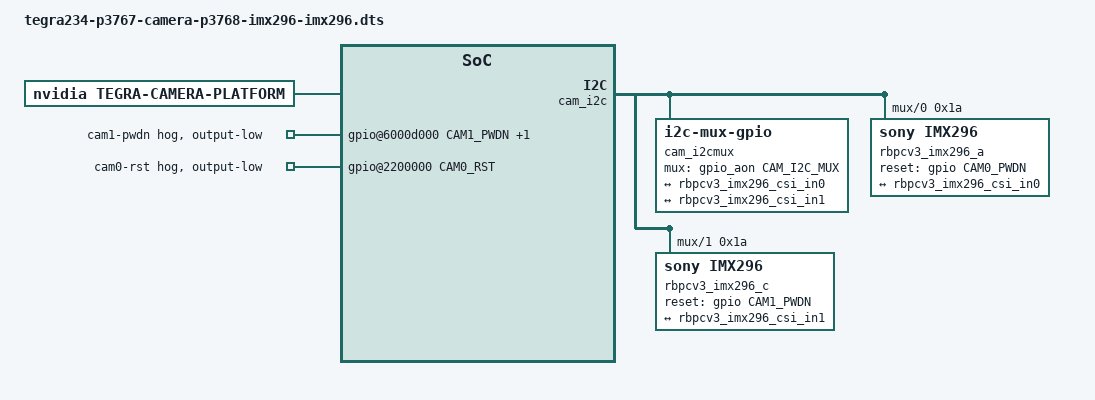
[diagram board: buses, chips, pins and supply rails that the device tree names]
// SPDX-License-Identifier: GPL-2.0-only
// SPDX-FileCopyrightText: Copyright (c) 2023-2024, NVIDIA CORPORATION & AFFILIATES. All rights reserved.

/dts-v1/;
/plugin/;

#define CAM0_RST	TEGRA234_MAIN_GPIO(H, 3)
#define CAM0_PWDN	TEGRA234_MAIN_GPIO(H, 6)
#define CAM1_PWDN	TEGRA234_MAIN_GPIO(AC, 0)
#define CAM_I2C_MUX 	TEGRA234_AON_GPIO(CC, 3)
#include <dt-bindings/tegra234-p3767-0000-common.h>

/ {
	overlay-name = "Camera IMX296-C and IMX296-C";
	jetson-header-name = "Jetson 24pin CSI Connector";
	compatible = JETSON_COMPATIBLE_P3768;
	/* IMX296 connected on cam0 and IMX296 connected on cam1 port */

	fragment@0 {
		target-path = "/";
		__overlay__ {

		imx296_fixed_cam_clk: imx_296_fixed_cam_clk {
			compatible = "fixed-clock";
			#clock-cells = <0>;
			status = "okay";
			clock-frequency = <54000000>;
        	};

			tegra-capture-vi  {
				num-channels = <2>;
				ports {
					#address-cells = <1>;
					#size-cells = <0>;
					port@0 {
						reg = <0>;
						rbpcv3_imx296_vi_in0: endpoint {
							port-index = <1>;
							bus-width = <1>;
							remote-endpoint = <&rbpcv3_imx296_csi_out0>;
						};
					};
					port@1 {
						reg = <1>;
						rbpcv3_imx296_vi_in1: endpoint {
							port-index = <2>;
							bus-width = <1>;
							remote-endpoint = <&rbpcv3_imx296_csi_out1>;
						};
					};
				};
			};
			tegra-camera-platform {
				compatible = "nvidia, tegra-camera-platform";
				num_csi_lanes = <2>;
				max_lane_speed = <1500000>;
				min_bits_per_pixel = <10>;
				vi_peak_byte_per_pixel = <2>;
				vi_bw_margin_pct = <25>;
				max_pixel_rate = <7500000>;
				isp_peak_byte_per_pixel = <5>;
				isp_bw_margin_pct = <25>;
				modules {
					module0 {
						badge = "jakku_front_RBPCV3";
						position = "front";
						orientation = "1";
						drivernode0 {
							pcl_id = "v4l2_sensor";
							sysfs-device-tree = "/sys/firmware/devicetree/base/bus@0/cam_i2cmux/i2c@0/rbpcv3_imx296_a@1a";
						};
					};
					module1 {
						badge = "jakku_rear_RBPCV3";
						position = "rear";
						orientation = "1";
						drivernode0 {
							pcl_id = "v4l2_sensor";
							sysfs-device-tree = "/sys/firmware/devicetree/base/bus@0/cam_i2cmux/i2c@1/rbpcv3_imx296_c@1a";
						};
					};
				};
			};
			bus@0 {
				host1x@13e00000 {
					nvcsi@15a00000 {
						num-channels = <2>;
						#address-cells = <1>;
						#size-cells = <0>;
						channel@0 {
							reg = <0>;
							ports {
								#address-cells = <1>;
								#size-cells = <0>;
								port@0 {
									reg = <0>;
									rbpcv3_imx296_csi_in0: endpoint@0 {
										port-index = <1>;
										bus-width = <1>;
										remote-endpoint = <&rbpcv3_imx296_out0>;
									};
								};
								port@1 {
									reg = <1>;
									rbpcv3_imx296_csi_out0: endpoint@1 {
										remote-endpoint = <&rbpcv3_imx296_vi_in0>;
									};
								};
							};
						};
						channel@1 {
							reg = <1>;
							ports {
								#address-cells = <1>;
								#size-cells = <0>;
								port@0 {
									reg = <0>;
									rbpcv3_imx296_csi_in1: endpoint@2 {
										port-index = <2>;
										bus-width = <1>;
										remote-endpoint = <&rbpcv3_imx296_out1>;
									};
								};
								port@1 {
									reg = <1>;
									rbpcv3_imx296_csi_out1: endpoint@3 {
										remote-endpoint = <&rbpcv3_imx296_vi_in1>;
									};
								};
							};
						};
					};
				};
				cam_i2cmux {
					status = "okay";
					compatible = "i2c-mux-gpio";
					#address-cells = <1>;
					#size-cells = <0>;
					mux-gpios = <&gpio_aon CAM_I2C_MUX GPIO_ACTIVE_HIGH>;
					i2c-parent = <&cam_i2c>;
					i2c@0 {
						status = "okay";
						reg = <0>;
						#address-cells = <1>;
						#size-cells = <0>;
						rbpcv2_imx219_a@10 {
							status = "disabled";
						};
						rbpcv3_imx296_a@1a {
							reset-gpios = <&gpio CAM0_PWDN GPIO_ACTIVE_HIGH>;
							compatible = "sony,imx296";
							/* I2C device address */
							reg = <0x1a>;
							/* V4L2 device node location */
							devnode = "video0";
							clocks = <&imx296_fixed_cam_clk>;
							clock-names = "mclk";
							mclk = "mclk";
							/* Physical dimensions of sensor */
							physical_w = "5.0232";
							physical_h = "3.7536";
							sensor_model = "imx296";
							use_sensor_mode_id = "true";
							mode0 {
								// TODO(austin): Figure out what mclk actually resolves to and is used for.  We set mclk to it...  But I don't know what that does.  It appears in the datasheet?
								mclk_khz = "54000";
								num_lanes = "1";
								tegra_sinterface = "serial_a";
								phy_mode = "DPHY";
								discontinuous_clk = "no";
								dpcm_enable = "false";
								cil_settletime = "0";
								lane_polarity = "0";

								active_w = "1456";
								active_h = "1088";
								mode_type = "bayer";
								pixel_phase = "rggb";
								csi_pixel_bit_depth = "10";
								/* Only used by android */
								readout_orientation = "0";
								line_length = "1100";
								inherent_gain = "1";
								mclk_multiplier = "22";
								pix_clk_hz = "118800000";

								gain_factor = "16";
								framerate_factor = "1000000";
								exposure_factor = "1000000";
			       				// TODO(austin): Min is actually 0, do we really need to get to it?
								min_gain_val = "1"; /* 0db */
								max_gain_val = "200"; /* 48 db */
								step_gain_val = "1";
								default_gain = "100"; // JC: was "1";
								min_hdr_ratio = "1";
								max_hdr_ratio = "1";
								min_framerate = "64373"; /* 0.06... fps */
								max_framerate = "60375670"; /* 60.3... fps */
								step_framerate = "1";
								default_framerate = "60000000"; /* 60.0 fps */
								// TODO(austin): Make exposure real after it works.
								min_exp_time = "1"; /* us? */
								//max_exp_time = "60375670"; /* us? */
								max_exp_time = "1000"; /* us? */
								step_exp_time = "1";
								default_exp_time = "800"; /* us */ /* JC: was set to 10 as default, flaking/murky image */

								embedded_metadata_height = "2";
							};
							ports {
								#address-cells = <1>;
								#size-cells = <0>;
								port@0 {
									reg = <0>;
									rbpcv3_imx296_out0: endpoint {
										port-index = <1>;
										bus-width = <1>;
										remote-endpoint = <&rbpcv3_imx296_csi_in0>;
									};
								};
							};
						};
					};
					i2c@1 {
						status = "okay";
						reg = <1>;
						#address-cells = <1>;
						#size-cells = <0>;
						rbpcv2_imx219_c@10 {
							status = "disabled";
						};
						rbpcv3_imx296_c@1a {
						    reset-gpios = <&gpio CAM1_PWDN GPIO_ACTIVE_HIGH>;
							compatible = "sony,imx296";
							/* I2C device address */
							reg = <0x1a>;
							/* V4L2 device node location */
							devnode = "video1";
                            				clocks = <&imx296_fixed_cam_clk>;
                            				clock-names = "mclk";
                            				mclk = "mclk";

							/* Physical dimensions of sensor */
							physical_w = "5.0232";
							physical_h = "3.7536";
							sensor_model = "imx296";
							use_sensor_mode_id = "true";

							mode0 {
								// TODO(austin): Figure out what mclk actually resolves to and is used for.  We set mclk to it...  But I don't know what that does.  It appears in the datasheet?
								mclk_khz = "54000";
								num_lanes = "1";
								tegra_sinterface = "serial_c";
								phy_mode = "DPHY";
								discontinuous_clk = "no";
								dpcm_enable = "false";
								cil_settletime = "0";
								lane_polarity = "0";

								active_w = "1456";
								active_h = "1088";
								mode_type = "bayer";
								pixel_phase = "rggb";
								csi_pixel_bit_depth = "10";
								/* Only used by android */
								readout_orientation = "0";
								line_length = "1100";
								inherent_gain = "1";
								mclk_multiplier = "22";
								pix_clk_hz = "118800000";

								gain_factor = "16";
								framerate_factor = "1000000";
								exposure_factor = "1000000";
			       				// TODO(austin): Min is actually 0, do we really need to get to it?
								min_gain_val = "1"; /* 0db */
								max_gain_val = "200"; /* 48 db */
								step_gain_val = "1";
								default_gain = "100"; // JC: was "1";
								min_hdr_ratio = "1";
								max_hdr_ratio = "1";
								min_framerate = "64373"; /* 0.06... fps */
								max_framerate = "60375670"; /* 60.3... fps */
								step_framerate = "1";
								default_framerate = "60000000"; /* 60.0 fps */
								// TODO(austin): Make exposure real after it works.
								min_exp_time = "1"; /* us? */
								//max_exp_time = "60375670"; /* us? */
								max_exp_time = "1000"; /* us? */
								step_exp_time = "1";
								default_exp_time = "800"; /* us */ /* JC: was set to 10 as default, flaking/murky image */

								embedded_metadata_height = "2";
							};
							ports {
								#address-cells = <1>;
								#size-cells = <0>;
								port@0 {
									reg = <0>;
									rbpcv3_imx296_out1: endpoint {
										status = "okay";
										port-index = <2>;
										bus-width = <1>;
										remote-endpoint = <&rbpcv3_imx296_csi_in1>;
									};
								};
							};
						};
					};
				};
				gpio@6000d000 {
					camera-control-output-low {
						gpio-hog;
						output-low;
						gpios = <CAM1_PWDN 0  CAM0_PWDN 0>;
						label = "cam1-pwdn", "cam0-pwdn";
					};
				};

				gpio@2200000 {
					camera-control-output-low {
						gpio-hog;
						output-low;
						gpios = <CAM0_RST 0>;
						label = "cam0-rst";
					};
				};
			};
		};
	};
};
